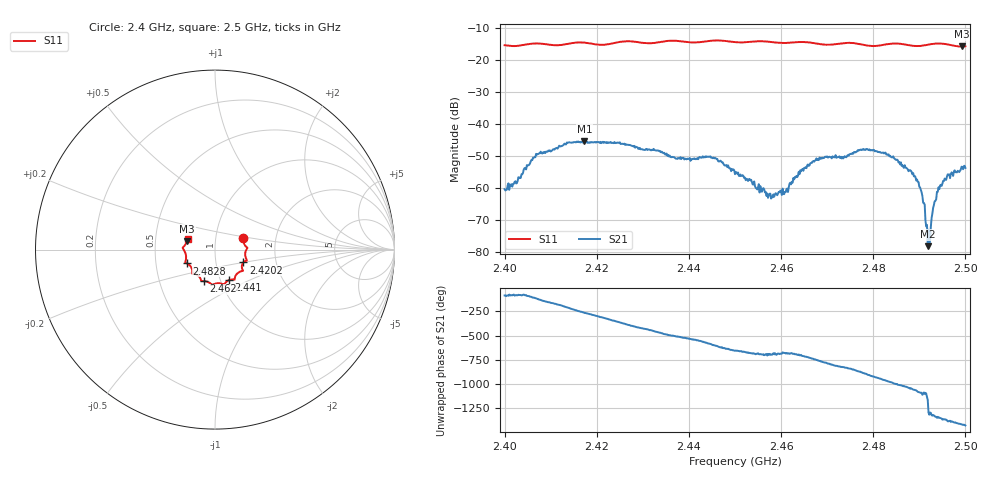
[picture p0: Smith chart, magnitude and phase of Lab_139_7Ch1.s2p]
# Hz S RI R 50
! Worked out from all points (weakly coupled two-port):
!   601 points, 2.4 GHz to 2.5 GHz, reference 50 ohm
!   highest |S21| = -45.51 dB at 2.4173 GHz (marker M1); lowest = -78.3 dB at 2.4918 GHz (marker M2)
!   lowest |S11| = -15.8 dB at 2.4992 GHz (marker M3), VSWR 1.39, Z = 36.5 + j3.66 ohm
!   |S11| at or under -10 dB: start of sweep to end of sweep
!   S12 and S22 are empty: the file has one direction only
!   S11 on the Smith chart (normalised r, x): 2.4 GHz: 1.36, +0.17; 2.4202 GHz: 1.36, -0.20; 2.441 GHz: 1.10, -0.39; 2.462 GHz: 0.84, -0.30; 2.4828 GHz: 0.72, -0.11; 2.5 GHz: 0.73, +0.09
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2.4e9  0.1579 0.0623  8.95e-05 -0.000945  0 0  0 0
2.407333e9  0.1805 0.00899  -0.00179 -0.00286  0 0  0 0
2.416667e9  0.1777 -0.0603  -0.00149 0.00501  0 0  0 0
2.417333e9  0.1761 -0.0612  -0.000435 0.00529  0 0  0 0
2.420167e9  0.1582 -0.0714  0.00245 0.00456  0 0  0 0
2.433333e9  0.1121 -0.1513  -0.00108 -0.00364  0 0  0 0
2.441e9  0.0783 -0.1697  -0.00281 6.85e-05  0 0  0 0
2.445667e9  0.0512 -0.1946  -0.00137 0.00259  0 0  0 0
2.45e9  0.0284 -0.1877  0.00069 0.00147  0 0  0 0
2.457667e9  -0.0233 -0.19  0.000749 0.000298  0 0  0 0
2.462e9  -0.0605 -0.1758  0.00098 0.000686  0 0  0 0
2.466667e9  -0.0785 -0.1681  0.00233 -0.000726  0 0  0 0
2.4775e9  -0.1267 -0.1199  -0.00363 -0.00138  0 0  0 0
2.482833e9  -0.1574 -0.0771  -0.00131 0.00304  0 0  0 0
2.483333e9  -0.1606 -0.0757  -0.000876 0.00321  0 0  0 0
2.4895e9  -0.162 -0.0302  0.00134 0.000158  0 0  0 0
2.490667e9  -0.1665 -0.0153  0.000631 -0.000387  0 0  0 0
2.491833e9  -0.1727 -0.00306  3.65e-06 -0.000122  0 0  0 0
2.492333e9  -0.1755 0.000583  -0.000125 8.75e-05  0 0  0 0
2.494333e9  -0.1802 0.00984  -4.8e-05 0.000947  0 0  0 0
2.499167e9  -0.1546 0.0488  0.00196 0.000845  0 0  0 0
2.5e9  -0.1521 0.0609  0.002 0.000395  0 0  0 0
